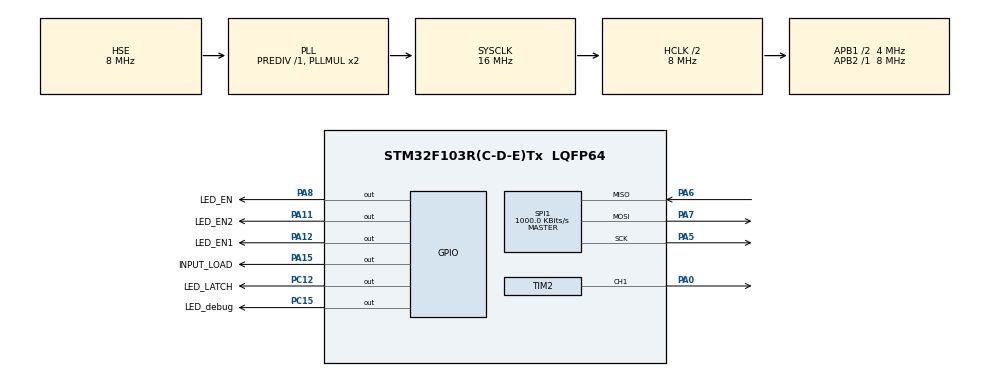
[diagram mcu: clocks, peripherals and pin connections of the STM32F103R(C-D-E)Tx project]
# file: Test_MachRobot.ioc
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Mcu.Family=STM32F1
Mcu.Name=STM32F103R(C-D-E)Tx
Mcu.Package=LQFP64
NVIC.PriorityGroup=NVIC_PRIORITYGROUP_4
NVIC.TIM2_IRQn=true\:0\:0\:false\:false\:true\:true\:true\:true
PA0-WKUP.Signal=S_TIM2_CH1_ETR
PA11.GPIO_Label=LED_EN2
PA11.Signal=GPIO_Output
PA12.GPIO_Label=LED_EN1
PA12.Signal=GPIO_Output
PA13.Mode=Serial_Wire
PA13.Signal=SYS_JTMS-SWDIO
PA14.Mode=Serial_Wire
PA14.Signal=SYS_JTCK-SWCLK
PA15.GPIO_Label=INPUT_LOAD
PA15.Signal=GPIO_Output
PA5.Mode=Full_Duplex_Master
PA5.Signal=SPI1_SCK
PA6.Mode=Full_Duplex_Master
PA6.Signal=SPI1_MISO
PA7.Mode=Full_Duplex_Master
PA7.Signal=SPI1_MOSI
PA8.GPIO_Label=LED_EN
PA8.Signal=GPIO_Output
PC12.GPIO_Label=LED_LATCH
PC12.Signal=GPIO_Output
PC15-OSC32_OUT.GPIO_Label=LED_debug
PC15-OSC32_OUT.Signal=GPIO_Output
PD0-OSC_IN.Mode=HSE-External-Oscillator
PD0-OSC_IN.Signal=RCC_OSC_IN
PD1-OSC_OUT.Mode=HSE-External-Oscillator
PD1-OSC_OUT.Signal=RCC_OSC_OUT
ProjectManager.HeapSize=0x200
ProjectManager.StackSize=0x400
ProjectManager.TargetToolchain=STM32CubeIDE
RCC.AHBCLKDivider=RCC_SYSCLK_DIV2
RCC.AHBFreq_Value=8000000
RCC.APB1CLKDivider=RCC_HCLK_DIV2
RCC.APB1Freq_Value=4000000
RCC.APB1TimFreq_Value=8000000
RCC.APB2Freq_Value=8000000
RCC.APB2TimFreq_Value=8000000
RCC.HCLKFreq_Value=8000000
RCC.PLLSourceVirtual=RCC_PLLSOURCE_HSE
RCC.SYSCLKFreq_VALUE=16000000
RCC.SYSCLKSource=RCC_SYSCLKSOURCE_PLLCLK
RCC.USBFreq_Value=16000000
SH.S_TIM2_CH1_ETR.0=TIM2_CH1,PWM Generation1 CH1
SPI1.BaudRatePrescaler=SPI_BAUDRATEPRESCALER_8
SPI1.CalculateBaudRate=1000.0 KBits/s
SPI1.Direction=SPI_DIRECTION_2LINES
SPI1.Mode=SPI_MODE_MASTER
SPI1.VirtualType=VM_MASTER
TIM2.Channel-PWM\ Generation1\ CH1=TIM_CHANNEL_1
TIM2.Period=1
TIM2.Prescaler=7999
TIM2.Pulse-PWM\ Generation1\ CH1=49
board=custom

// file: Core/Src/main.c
/* USER CODE BEGIN Header */
/**
  ******************************************************************************
  * @file           : main.c
  * @brief          : Main program body
  ******************************************************************************
  * @attention
  *
  * Copyright (c) 2025 STMicroelectronics.
  * All rights reserved.
  *
  * This software is licensed under terms that can be found in the LICENSE file
  * in the root directory of this software component.
  * If no LICENSE file comes with this software, it is provided AS-IS.
  *
  ******************************************************************************
  */
/* USER CODE END Header */
#include "main.h"

/* USER CODE BEGIN Includes */
#include <buzzer.h>
#include <LED_debug.h>

#include "Seven_Segments.h"
#include "8_LED_Arrays.h"
#include "button.h"
/* USER CODE END Includes */

SPI_HandleTypeDef hspi1;

TIM_HandleTypeDef htim2;

void SystemClock_Config(void);
static void MX_GPIO_Init(void);
static void MX_SPI1_Init(void);
static void MX_TIM2_Init(void);
/* USER CODE BEGIN PFP */
uint8_t read_74HC165_spi(void);
/* USER CODE END PFP */

int main(void)
{

  /* MCU Configuration--------------------------------------------------------*/

  /* Reset of all peripherals, Initializes the Flash interface and the Systick. */
  HAL_Init();

  /* Configure the system clock */
  SystemClock_Config();

  /* Initialize all configured peripherals */
  MX_GPIO_Init();
  MX_SPI1_Init();
  MX_TIM2_Init();
  /* USER CODE BEGIN 2 */
  button *btn =create_button();
  /* USER CODE END 2 */

  /* Infinite loop */
  /* USER CODE BEGIN WHILE */

  seven_segments_led_init(&hspi1, LED_LATCH_GPIO_Port, LED_LATCH_Pin, LED_EN_GPIO_Port, LED_EN_Pin, LED_EN1_GPIO_Port, LED_EN1_Pin, LED_EN2_GPIO_Port, LED_EN2_Pin);
//  seven_segments_led_mode(0,1);
//  seven_segments_led_mode(1,0);
  HAL_TIM_Base_Start_IT(&htim2);
//  led_init(&hspi1, LED_LATCH_GPIO_Port, LED_LATCH_Pin, LED_EN_GPIO_Port, LED_EN_Pin);

  while (1)
  {
	  uint8_t data = ~read_74HC165_spi();
	  fillButtonCache(data, btn);
	  uint8_t data_out= getButtonValue(btn);

	  display_num(data_out);
    /* USER CODE END WHILE */

  }
}

void SystemClock_Config(void)
{
  RCC_OscInitTypeDef RCC_OscInitStruct = {0};
  RCC_ClkInitTypeDef RCC_ClkInitStruct = {0};

  /** Initializes the RCC Oscillators according to the specified parameters
  * in the RCC_OscInitTypeDef structure.
  */
  RCC_OscInitStruct.OscillatorType = RCC_OSCILLATORTYPE_HSE;
  RCC_OscInitStruct.HSEState = RCC_HSE_ON;
  RCC_OscInitStruct.HSEPredivValue = RCC_HSE_PREDIV_DIV1;
  RCC_OscInitStruct.HSIState = RCC_HSI_ON;
  RCC_OscInitStruct.PLL.PLLState = RCC_PLL_ON;
  RCC_OscInitStruct.PLL.PLLSource = RCC_PLLSOURCE_HSE;
  RCC_OscInitStruct.PLL.PLLMUL = RCC_PLL_MUL2;
  if (HAL_RCC_OscConfig(&RCC_OscInitStruct) != HAL_OK)
  {
    Error_Handler();
  }

  /** Initializes the CPU, AHB and APB buses clocks
  */
  RCC_ClkInitStruct.ClockType = RCC_CLOCKTYPE_HCLK|RCC_CLOCKTYPE_SYSCLK
                              |RCC_CLOCKTYPE_PCLK1|RCC_CLOCKTYPE_PCLK2;
  RCC_ClkInitStruct.SYSCLKSource = RCC_SYSCLKSOURCE_PLLCLK;
  RCC_ClkInitStruct.AHBCLKDivider = RCC_SYSCLK_DIV2;
  RCC_ClkInitStruct.APB1CLKDivider = RCC_HCLK_DIV2;
  RCC_ClkInitStruct.APB2CLKDivider = RCC_HCLK_DIV1;

  if (HAL_RCC_ClockConfig(&RCC_ClkInitStruct, FLASH_LATENCY_0) != HAL_OK)
  {
    Error_Handler();
  }
}

static void MX_SPI1_Init(void)
{

  /* SPI1 parameter configuration*/
  hspi1.Instance = SPI1;
  hspi1.Init.Mode = SPI_MODE_MASTER;
  hspi1.Init.Direction = SPI_DIRECTION_2LINES;
  hspi1.Init.DataSize = SPI_DATASIZE_8BIT;
  hspi1.Init.CLKPolarity = SPI_POLARITY_LOW;
  hspi1.Init.CLKPhase = SPI_PHASE_1EDGE;
  hspi1.Init.NSS = SPI_NSS_SOFT;
  hspi1.Init.BaudRatePrescaler = SPI_BAUDRATEPRESCALER_8;
  hspi1.Init.FirstBit = SPI_FIRSTBIT_MSB;
  hspi1.Init.TIMode = SPI_TIMODE_DISABLE;
  hspi1.Init.CRCCalculation = SPI_CRCCALCULATION_DISABLE;
  hspi1.Init.CRCPolynomial = 10;
  if (HAL_SPI_Init(&hspi1) != HAL_OK)
  {
    Error_Handler();
  }

}

static void MX_TIM2_Init(void)
{

  TIM_MasterConfigTypeDef sMasterConfig = {0};
  TIM_OC_InitTypeDef sConfigOC = {0};

  htim2.Instance = TIM2;
  htim2.Init.Prescaler = 7999;
  htim2.Init.CounterMode = TIM_COUNTERMODE_UP;
  htim2.Init.Period = 1;
  htim2.Init.ClockDivision = TIM_CLOCKDIVISION_DIV1;
  htim2.Init.AutoReloadPreload = TIM_AUTORELOAD_PRELOAD_DISABLE;
  if (HAL_TIM_PWM_Init(&htim2) != HAL_OK)
  {
    Error_Handler();
  }
  sMasterConfig.MasterOutputTrigger = TIM_TRGO_RESET;
  sMasterConfig.MasterSlaveMode = TIM_MASTERSLAVEMODE_DISABLE;
  if (HAL_TIMEx_MasterConfigSynchronization(&htim2, &sMasterConfig) != HAL_OK)
  {
    Error_Handler();
  }
  sConfigOC.OCMode = TIM_OCMODE_PWM1;
  sConfigOC.Pulse = 49;
  sConfigOC.OCPolarity = TIM_OCPOLARITY_HIGH;
  sConfigOC.OCFastMode = TIM_OCFAST_DISABLE;
  if (HAL_TIM_PWM_ConfigChannel(&htim2, &sConfigOC, TIM_CHANNEL_1) != HAL_OK)
  {
    Error_Handler();
  }
  HAL_TIM_MspPostInit(&htim2);

}

static void MX_GPIO_Init(void)
{
  GPIO_InitTypeDef GPIO_InitStruct = {0};

  /* GPIO Ports Clock Enable */
  __HAL_RCC_GPIOC_CLK_ENABLE();
  __HAL_RCC_GPIOD_CLK_ENABLE();
  __HAL_RCC_GPIOA_CLK_ENABLE();

  /*Configure GPIO pin Output Level */
  HAL_GPIO_WritePin(GPIOC, LED_debug_Pin|LED_LATCH_Pin, GPIO_PIN_RESET);

  /*Configure GPIO pin Output Level */
  HAL_GPIO_WritePin(GPIOA, LED_EN_Pin|LED_EN2_Pin|LED_EN1_Pin|INPUT_LOAD_Pin, GPIO_PIN_RESET);

  /*Configure GPIO pins : LED_debug_Pin LED_LATCH_Pin */
  GPIO_InitStruct.Pin = LED_debug_Pin|LED_LATCH_Pin;
  GPIO_InitStruct.Mode = GPIO_MODE_OUTPUT_PP;
  GPIO_InitStruct.Pull = GPIO_NOPULL;
  GPIO_InitStruct.Speed = GPIO_SPEED_FREQ_LOW;
  HAL_GPIO_Init(GPIOC, &GPIO_InitStruct);

  /*Configure GPIO pins : LED_EN_Pin LED_EN2_Pin LED_EN1_Pin INPUT_LOAD_Pin */
  GPIO_InitStruct.Pin = LED_EN_Pin|LED_EN2_Pin|LED_EN1_Pin|INPUT_LOAD_Pin;
  GPIO_InitStruct.Mode = GPIO_MODE_OUTPUT_PP;
  GPIO_InitStruct.Pull = GPIO_NOPULL;
  GPIO_InitStruct.Speed = GPIO_SPEED_FREQ_LOW;
  HAL_GPIO_Init(GPIOA, &GPIO_InitStruct);

}

/* USER CODE BEGIN 4 */
uint8_t read_74HC165_spi(void){
	uint8_t received = 0x00;
	HAL_GPIO_WritePin(INPUT_LOAD_GPIO_Port, INPUT_LOAD_Pin, RESET);
	HAL_GPIO_WritePin(INPUT_LOAD_GPIO_Port, INPUT_LOAD_Pin, SET);

	HAL_SPI_Receive(&hspi1, &received, 1, 50);
	return received;
}
/* USER CODE END 4 */

void Error_Handler(void)
{
  __disable_irq();
  while (1)
  {
  }
}
